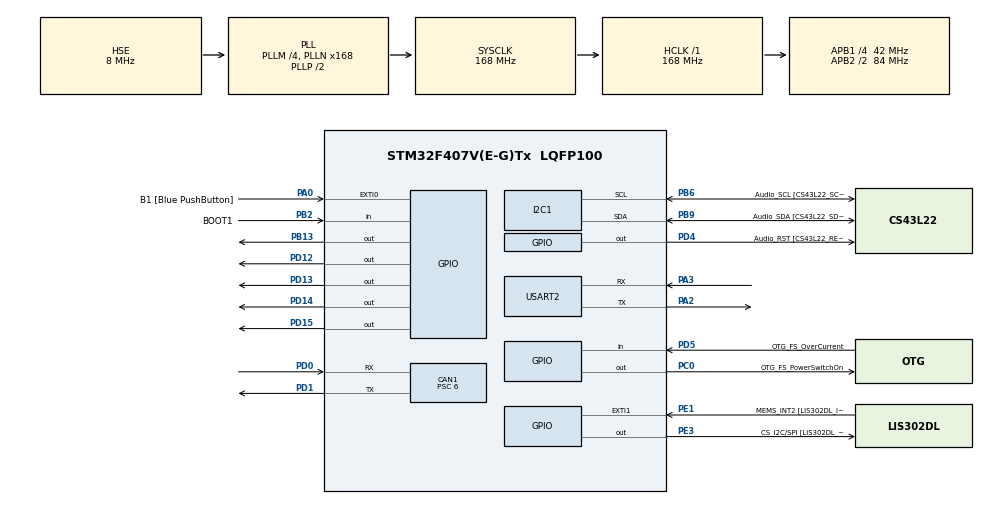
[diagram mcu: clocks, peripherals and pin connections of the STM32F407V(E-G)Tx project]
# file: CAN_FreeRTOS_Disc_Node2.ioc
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CAN1.ABOM=ENABLE
CAN1.BS1=CAN_BS1_11TQ
CAN1.BS2=CAN_BS2_2TQ
CAN1.CalculateBaudRate=500000
CAN1.CalculateTimeBit=2000
CAN1.CalculateTimeQuantum=142.85714285714286
CAN1.NART=ENABLE
CAN1.Prescaler=6
FREERTOS.Mutexes01=UARTmutex,Dynamic,NULL,Available
FREERTOS.Queues01=Queue1,16,uint16_t,0,Dynamic,NULL,NULL;Queue2,16,uint16_t,0,Dynamic,NULL,NULL;Queue3,16,uint16_t,0,Dynamic,NULL,NULL;Queue4,16,uint16_t,0,Dynamic,NULL,NULL
FREERTOS.Tasks01=CANReceiveTask,40,128,Function_CANReceiveTask,Default,NULL,Dynamic,NULL,NULL;IDSDetectionTas,32,128,Function_IDSDetectionTask,Default,NULL,Dynamic,NULL,NULL;AlertTask,24,128,Function_AlertTask,Default,NULL,Dynamic,NULL,NULL;OLEDTask,8,128,Function_OLEDTask,Default,NULL,Dynamic,NULL,NULL
I2C1.I2C_Mode=I2C_Fast
Mcu.Family=STM32F4
Mcu.Name=STM32F407V(E-G)Tx
Mcu.Package=LQFP100
NVIC.CAN1_RX0_IRQn=true\:5\:0\:true\:false\:true\:true\:true\:true\:true
NVIC.PriorityGroup=NVIC_PRIORITYGROUP_4
NVIC.TIM6_DAC_IRQn=true\:15\:0\:false\:false\:true\:false\:false\:true\:true
NVIC.TimeBase=TIM6_DAC_IRQn
NVIC.TimeBaseIP=TIM6
PA0-WKUP.GPIO_Label=B1 [Blue PushButton]
PA0-WKUP.Signal=GPXTI0
PA10.GPIO_Label=OTG_FS_ID
PA10.GPIO_Mode=GPIO_MODE_AF_PP
PA10.GPIO_PuPd=GPIO_NOPULL
PA10.GPIO_Speed=GPIO_SPEED_FREQ_LOW
PA10.Signal=USB_OTG_FS_ID
PA11.GPIO_Label=OTG_FS_DM
PA11.GPIO_Mode=GPIO_MODE_AF_PP
PA11.GPIO_PuPd=GPIO_NOPULL
PA11.GPIO_Speed=GPIO_SPEED_FREQ_LOW
PA11.Signal=USB_OTG_FS_DM
PA12.GPIO_Label=OTG_FS_DP
PA12.GPIO_Mode=GPIO_MODE_AF_PP
PA12.GPIO_PuPd=GPIO_NOPULL
PA12.GPIO_Speed=GPIO_SPEED_FREQ_LOW
PA12.Signal=USB_OTG_FS_DP
PA13.GPIO_Label=SWDIO
PA13.Mode=Serial_Wire
PA13.Signal=SYS_JTMS-SWDIO
PA14.GPIO_Label=SWCLK
PA14.Mode=Serial_Wire
PA14.Signal=SYS_JTCK-SWCLK
PA2.Mode=Asynchronous
PA2.Signal=USART2_TX
PA3.Mode=Asynchronous
PA3.Signal=USART2_RX
PA4.GPIO_Label=I2S3_WS [CS43L22_LRCK]
PA4.GPIO_Mode=GPIO_MODE_AF_PP
PA4.GPIO_PuPd=GPIO_NOPULL
PA4.GPIO_Speed=GPIO_SPEED_FREQ_LOW
PA4.Signal=I2S3_WS
PA5.GPIO_Label=SPI1_SCK [LIS302DL_SCL/SPC]
PA5.GPIO_Mode=GPIO_MODE_AF_PP
PA5.GPIO_PuPd=GPIO_NOPULL
PA5.GPIO_Speed=GPIO_SPEED_FREQ_LOW
PA5.Signal=SPI1_SCK
PA6.GPIO_Label=SPI1_MISO [LIS302DL_SDO]
PA6.GPIO_Mode=GPIO_MODE_AF_PP
PA6.GPIO_PuPd=GPIO_NOPULL
PA6.GPIO_Speed=GPIO_SPEED_FREQ_LOW
PA6.Signal=SPI1_MISO
PA7.GPIO_Label=SPI1_MOSI [LIS302DL_SDA/SDI/SDO]
PA7.GPIO_Mode=GPIO_MODE_AF_PP
PA7.GPIO_PuPd=GPIO_NOPULL
PA7.GPIO_Speed=GPIO_SPEED_FREQ_LOW
PA7.Signal=SPI1_MOSI
PA9.GPIO_Label=VBUS_FS
PA9.GPIO_Mode=GPIO_MODE_INPUT
PA9.GPIO_PuPd=GPIO_NOPULL
PA9.Signal=USB_OTG_FS_VBUS
PB10.GPIO_Label=CLK_IN [MP45DT02_CLK]
PB10.GPIO_Mode=GPIO_MODE_AF_PP
PB10.GPIO_PuPd=GPIO_NOPULL
PB10.GPIO_Speed=GPIO_SPEED_FREQ_LOW
PB10.Signal=I2S2_CK
PB13.Signal=GPIO_Output
PB2.GPIO_Label=BOOT1
PB2.GPIO_Mode=GPIO_MODE_INPUT
PB2.GPIO_PuPd=GPIO_NOPULL
PB2.Signal=GPIO_Input
PB3.GPIO_Label=SWO
PB3.Signal=SYS_JTDO-SWO
PB6.GPIO_Label=Audio_SCL [CS43L22_SCL]
PB6.GPIO_Mode=GPIO_MODE_AF_OD
PB6.GPIO_PuPd=GPIO_NOPULL
PB6.GPIO_Speed=GPIO_SPEED_FREQ_LOW
PB6.Mode=I2C
PB6.Signal=I2C1_SCL
PB9.GPIO_Label=Audio_SDA [CS43L22_SDA]
PB9.GPIO_Mode=GPIO_MODE_AF_OD
PB9.GPIO_PuPd=GPIO_NOPULL
PB9.GPIO_Speed=GPIO_SPEED_FREQ_LOW
PB9.Mode=I2C
PB9.Signal=I2C1_SDA
PC0.GPIO_Label=OTG_FS_PowerSwitchOn
PC0.GPIO_PuPd=GPIO_NOPULL
PC0.GPIO_Speed=GPIO_SPEED_FREQ_LOW
PC0.PinState=GPIO_PIN_SET
PC0.Signal=GPIO_Output
PC10.GPIO_Label=I2S3_SCK [CS43L22_SCLK]
PC10.GPIO_Mode=GPIO_MODE_AF_PP
PC10.GPIO_PuPd=GPIO_NOPULL
PC10.GPIO_Speed=GPIO_SPEED_FREQ_LOW
PC10.Signal=I2S3_CK
PC12.GPIO_Label=I2S3_SD [CS43L22_SDIN]
PC12.GPIO_Mode=GPIO_MODE_AF_PP
PC12.GPIO_PuPd=GPIO_NOPULL
PC12.GPIO_Speed=GPIO_SPEED_FREQ_LOW
PC12.Signal=I2S3_SD
PC14-OSC32_IN.GPIO_Label=PC14-OSC32_IN
PC14-OSC32_IN.Signal=RCC_OSC32_IN
PC15-OSC32_OUT.GPIO_Label=PC15-OSC32_OUT
PC15-OSC32_OUT.Signal=RCC_OSC32_OUT
PC3.GPIO_Label=PDM_OUT [MP45DT02_DOUT]
PC3.GPIO_Mode=GPIO_MODE_AF_PP
PC3.GPIO_PuPd=GPIO_NOPULL
PC3.GPIO_Speed=GPIO_SPEED_FREQ_LOW
PC3.Signal=I2S2_SD
PC7.GPIO_Label=I2S3_MCK [CS43L22_MCLK]
PC7.GPIO_Mode=GPIO_MODE_AF_PP
PC7.GPIO_PuPd=GPIO_NOPULL
PC7.GPIO_Speed=GPIO_SPEED_FREQ_LOW
PC7.Signal=I2S3_MCK
PD0.Mode=CAN_Activate
PD0.Signal=CAN1_RX
PD1.Mode=CAN_Activate
PD1.Signal=CAN1_TX
PD12.Signal=GPIO_Output
PD13.Signal=GPIO_Output
PD14.Signal=GPIO_Output
PD15.Signal=GPIO_Output
PD4.GPIO_Label=Audio_RST [CS43L22_RESET]
PD4.GPIO_PuPd=GPIO_NOPULL
PD4.GPIO_Speed=GPIO_SPEED_FREQ_LOW
PD4.Signal=GPIO_Output
PD5.GPIO_Label=OTG_FS_OverCurrent
PD5.GPIO_Mode=GPIO_MODE_INPUT
PD5.GPIO_PuPd=GPIO_NOPULL
PD5.Signal=GPIO_Input
PE1.GPIO_Label=MEMS_INT2 [LIS302DL_INT2]
PE1.GPIO_ModeDefaultEXTI=GPIO_MODE_EVT_RISING
PE1.GPIO_PuPd=GPIO_NOPULL
PE1.Signal=GPXTI1
PE3.GPIO_Label=CS_I2C/SPI [LIS302DL_CS_I2C/SPI]
PE3.GPIO_PuPd=GPIO_NOPULL
PE3.GPIO_Speed=GPIO_SPEED_FREQ_LOW
PE3.Signal=GPIO_Output
PH0-OSC_IN.GPIO_Label=PH0-OSC_IN
PH0-OSC_IN.Mode=HSE-External-Oscillator
PH0-OSC_IN.Signal=RCC_OSC_IN
PH1-OSC_OUT.GPIO_Label=PH1-OSC_OUT
PH1-OSC_OUT.Mode=HSE-External-Oscillator
PH1-OSC_OUT.Signal=RCC_OSC_OUT
ProjectManager.HeapSize=0x200
ProjectManager.StackSize=0x400
ProjectManager.TargetToolchain=STM32CubeIDE
RCC.48MHZClocksFreq_Value=48000000
RCC.AHBFreq_Value=168000000
RCC.APB1CLKDivider=RCC_HCLK_DIV4
RCC.APB1Freq_Value=42000000
RCC.APB1TimFreq_Value=84000000
RCC.APB2CLKDivider=RCC_HCLK_DIV2
RCC.APB2Freq_Value=84000000
RCC.APB2TimFreq_Value=168000000
RCC.CortexFreq_Value=168000000
RCC.HCLKFreq_Value=168000000
RCC.HSE_VALUE=8000000
RCC.HSI_VALUE=16000000
RCC.LSE_VALUE=32768
RCC.PLLM=4
RCC.PLLN=168
RCC.PLLQ=7
RCC.PLLSourceVirtual=RCC_PLLSOURCE_HSE
RCC.SYSCLKFreq_VALUE=168000000
RCC.SYSCLKSource=RCC_SYSCLKSOURCE_PLLCLK
RCC.VCOOutputFreq_Value=336000000
USART2.VirtualMode=VM_ASYNC
VP_FREERTOS_VS_CMSIS_V2.Mode=CMSIS_V2
VP_SYS_VS_tim6.Mode=TIM6
board=STM32F407G-DISC1

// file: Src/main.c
/* USER CODE BEGIN Header */
/**
  ******************************************************************************
  * @file           : main.c
  * @brief          : Main program body
  ******************************************************************************
  * @attention
  *
  * Copyright (c) 2026 STMicroelectronics.
  * All rights reserved.
  *
  * This software is licensed under terms that can be found in the LICENSE file
  * in the root directory of this software component.
  * If no LICENSE file comes with this software, it is provided AS-IS.
  *
  ******************************************************************************
  */
/* USER CODE END Header */
#include "main.h"
#include "cmsis_os.h"

/* USER CODE BEGIN Includes */
#include <stdio.h>
#include "string.h"
#include "ssd1306.h"
#include "fonts.h"

/* USER CODE END Includes */

/* USER CODE BEGIN PD */

#define MAX_RPM	8000
#define FLOOD_THRESHOLD_ms	5

/* USER CODE END PD */

CAN_HandleTypeDef hcan1;

I2C_HandleTypeDef hi2c1;

UART_HandleTypeDef huart2;

/* Definitions for CANReceiveTask */
osThreadId_t CANReceiveTaskHandle;
const osThreadAttr_t CANReceiveTask_attributes = {
  .name = "CANReceiveTask",
  .stack_size = 128 * 4,
  .priority = (osPriority_t) osPriorityHigh,
};
/* Definitions for IDSDetectionTas */
osThreadId_t IDSDetectionTasHandle;
const osThreadAttr_t IDSDetectionTas_attributes = {
  .name = "IDSDetectionTas",
  .stack_size = 128 * 4,
  .priority = (osPriority_t) osPriorityAboveNormal,
};
/* Definitions for AlertTask */
osThreadId_t AlertTaskHandle;
const osThreadAttr_t AlertTask_attributes = {
  .name = "AlertTask",
  .stack_size = 128 * 4,
  .priority = (osPriority_t) osPriorityNormal,
};
/* Definitions for OLEDTask */
osThreadId_t OLEDTaskHandle;
const osThreadAttr_t OLEDTask_attributes = {
  .name = "OLEDTask",
  .stack_size = 128 * 4,
  .priority = (osPriority_t) osPriorityLow,
};
/* Definitions for Queue1 */
osMessageQueueId_t Queue1Handle;
const osMessageQueueAttr_t Queue1_attributes = {
  .name = "Queue1"
};
/* Definitions for Queue2 */
osMessageQueueId_t Queue2Handle;
const osMessageQueueAttr_t Queue2_attributes = {
  .name = "Queue2"
};
/* Definitions for Queue3 */
osMessageQueueId_t Queue3Handle;
const osMessageQueueAttr_t Queue3_attributes = {
  .name = "Queue3"
};
/* Definitions for Queue4 */
osMessageQueueId_t Queue4Handle;
const osMessageQueueAttr_t Queue4_attributes = {
  .name = "Queue4"
};
/* Definitions for UARTmutex */
osMutexId_t UARTmutexHandle;
const osMutexAttr_t UARTmutex_attributes = {
  .name = "UARTmutex"
};
/* USER CODE BEGIN PV */

uint16_t CurrentRPM = 0;
uint16_t CurrentSpeed = 0;
uint16_t CurrentTemp = 0;

uint32_t lastRPMTime = 0;

/* USER CODE END PV */

void SystemClock_Config(void);
static void MX_GPIO_Init(void);
static void MX_CAN1_Init(void);
static void MX_I2C1_Init(void);
static void MX_USART2_UART_Init(void);
void Function_CANReceiveTask(void *argument);
void Function_IDSDetectionTask(void *argument);
void Function_AlertTask(void *argument);
void Function_OLEDTask(void *argument);

/* USER CODE BEGIN PFP */

void CAN_Filter_Config(void);

/* USER CODE END PFP */

/* USER CODE BEGIN 0 */

typedef struct
{
	uint32_t id;
	uint8_t  dlc;
	uint8_t  data[8];
	uint32_t timestamp;
}CAN_Frame_t;

typedef enum{
	ATTACK_UNKNOWN_ID = 0,
	ATTACK_INVALID_RPM,
	ATTACK_INVALID_SPEED,
	ATTACK_INVALID_TEMP,
	ATTACK_FLOOD
}AttackType_t;

typedef struct
{
	uint32_t id;
	uint16_t value;
	AttackType_t attackType;
	uint32_t timestamp;
}IDS_Event_t;	 // IDS --> Intrusion detection system

/* USER CODE END 0 */

int main(void)
{

  /* MCU Configuration--------------------------------------------------------*/

  /* Reset of all peripherals, Initializes the Flash interface and the Systick. */
  HAL_Init();

  /* Configure the system clock */
  SystemClock_Config();

  /* Initialize all configured peripherals */
  MX_GPIO_Init();
  MX_CAN1_Init();
  MX_I2C1_Init();
  MX_USART2_UART_Init();
  /* USER CODE BEGIN 2 */

  // filters are applied immediately when CAN leaves initialization mode.
  CAN_Filter_Config();

  if(HAL_CAN_Start(&hcan1) != HAL_OK)
  {
	  Error_Handler();
  }

	// API is use for enabling interrupt
	if (HAL_CAN_ActivateNotification(&hcan1, CAN_IT_RX_FIFO0_MSG_PENDING) != HAL_OK)
	{
		Error_Handler();
	}

  /* USER CODE END 2 */

  /* Init scheduler */
  osKernelInitialize();
  /* Create the mutex(es) */
  /* creation of UARTmutex */
  UARTmutexHandle = osMutexNew(&UARTmutex_attributes);

  /* Create the queue(s) */
  /* creation of Queue1 */
  Queue1Handle = osMessageQueueNew (16, sizeof(CAN_Frame_t), &Queue1_attributes);

  /* creation of Queue2 */
  Queue2Handle = osMessageQueueNew (16, sizeof(CAN_Frame_t), &Queue2_attributes);

  /* creation of Queue3 */
  Queue3Handle = osMessageQueueNew (16, sizeof(IDS_Event_t), &Queue3_attributes);

  /* creation of Queue4 */
  Queue4Handle = osMessageQueueNew (16, sizeof(CAN_Frame_t), &Queue4_attributes);

  /* Create the thread(s) */
  /* creation of CANReceiveTask */
  CANReceiveTaskHandle = osThreadNew(Function_CANReceiveTask, NULL, &CANReceiveTask_attributes);

  /* creation of IDSDetectionTas */
  IDSDetectionTasHandle = osThreadNew(Function_IDSDetectionTask, NULL, &IDSDetectionTas_attributes);

  /* creation of AlertTask */
  AlertTaskHandle = osThreadNew(Function_AlertTask, NULL, &AlertTask_attributes);

  /* creation of OLEDTask */
  OLEDTaskHandle = osThreadNew(Function_OLEDTask, NULL, &OLEDTask_attributes);

  /* Start scheduler */
  osKernelStart();

  /* We should never get here as control is now taken by the scheduler */

  /* Infinite loop */
  while (1)
  {

  }
}

void SystemClock_Config(void)
{
  RCC_OscInitTypeDef RCC_OscInitStruct = {0};
  RCC_ClkInitTypeDef RCC_ClkInitStruct = {0};

  /** Configure the main internal regulator output voltage
  */
  __HAL_RCC_PWR_CLK_ENABLE();
  __HAL_PWR_VOLTAGESCALING_CONFIG(PWR_REGULATOR_VOLTAGE_SCALE1);

  /** Initializes the RCC Oscillators according to the specified parameters
  * in the RCC_OscInitTypeDef structure.
  */
  RCC_OscInitStruct.OscillatorType = RCC_OSCILLATORTYPE_HSE;
  RCC_OscInitStruct.HSEState = RCC_HSE_ON;
  RCC_OscInitStruct.PLL.PLLState = RCC_PLL_ON;
  RCC_OscInitStruct.PLL.PLLSource = RCC_PLLSOURCE_HSE;
  RCC_OscInitStruct.PLL.PLLM = 4;
  RCC_OscInitStruct.PLL.PLLN = 168;
  RCC_OscInitStruct.PLL.PLLP = RCC_PLLP_DIV2;
  RCC_OscInitStruct.PLL.PLLQ = 7;
  if (HAL_RCC_OscConfig(&RCC_OscInitStruct) != HAL_OK)
  {
    Error_Handler();
  }

  /** Initializes the CPU, AHB and APB buses clocks
  */
  RCC_ClkInitStruct.ClockType = RCC_CLOCKTYPE_HCLK|RCC_CLOCKTYPE_SYSCLK
                              |RCC_CLOCKTYPE_PCLK1|RCC_CLOCKTYPE_PCLK2;
  RCC_ClkInitStruct.SYSCLKSource = RCC_SYSCLKSOURCE_PLLCLK;
  RCC_ClkInitStruct.AHBCLKDivider = RCC_SYSCLK_DIV1;
  RCC_ClkInitStruct.APB1CLKDivider = RCC_HCLK_DIV4;
  RCC_ClkInitStruct.APB2CLKDivider = RCC_HCLK_DIV2;

  if (HAL_RCC_ClockConfig(&RCC_ClkInitStruct, FLASH_LATENCY_5) != HAL_OK)
  {
    Error_Handler();
  }
}

static void MX_CAN1_Init(void)
{

  hcan1.Instance = CAN1;
  hcan1.Init.Prescaler = 6;
  hcan1.Init.Mode = CAN_MODE_NORMAL;
  hcan1.Init.SyncJumpWidth = CAN_SJW_1TQ;
  hcan1.Init.TimeSeg1 = CAN_BS1_11TQ;
  hcan1.Init.TimeSeg2 = CAN_BS2_2TQ;
  hcan1.Init.TimeTriggeredMode = DISABLE;
  hcan1.Init.AutoBusOff = ENABLE;
  hcan1.Init.AutoWakeUp = DISABLE;
  hcan1.Init.AutoRetransmission = ENABLE;
  hcan1.Init.ReceiveFifoLocked = DISABLE;
  hcan1.Init.TransmitFifoPriority = DISABLE;
  if (HAL_CAN_Init(&hcan1) != HAL_OK)
  {
    Error_Handler();
  }

}

static void MX_I2C1_Init(void)
{

  hi2c1.Instance = I2C1;
  hi2c1.Init.ClockSpeed = 400000;
  hi2c1.Init.DutyCycle = I2C_DUTYCYCLE_2;
  hi2c1.Init.OwnAddress1 = 0;
  hi2c1.Init.AddressingMode = I2C_ADDRESSINGMODE_7BIT;
  hi2c1.Init.DualAddressMode = I2C_DUALADDRESS_DISABLE;
  hi2c1.Init.OwnAddress2 = 0;
  hi2c1.Init.GeneralCallMode = I2C_GENERALCALL_DISABLE;
  hi2c1.Init.NoStretchMode = I2C_NOSTRETCH_DISABLE;
  if (HAL_I2C_Init(&hi2c1) != HAL_OK)
  {
    Error_Handler();
  }

}

static void MX_USART2_UART_Init(void)
{

  huart2.Instance = USART2;
  huart2.Init.BaudRate = 115200;
  huart2.Init.WordLength = UART_WORDLENGTH_8B;
  huart2.Init.StopBits = UART_STOPBITS_1;
  huart2.Init.Parity = UART_PARITY_NONE;
  huart2.Init.Mode = UART_MODE_TX_RX;
  huart2.Init.HwFlowCtl = UART_HWCONTROL_NONE;
  huart2.Init.OverSampling = UART_OVERSAMPLING_16;
  if (HAL_UART_Init(&huart2) != HAL_OK)
  {
    Error_Handler();
  }

}

static void MX_GPIO_Init(void)
{
  GPIO_InitTypeDef GPIO_InitStruct = {0};

  /* GPIO Ports Clock Enable */
  __HAL_RCC_GPIOE_CLK_ENABLE();
  __HAL_RCC_GPIOC_CLK_ENABLE();
  __HAL_RCC_GPIOH_CLK_ENABLE();
  __HAL_RCC_GPIOA_CLK_ENABLE();
  __HAL_RCC_GPIOB_CLK_ENABLE();
  __HAL_RCC_GPIOD_CLK_ENABLE();

  /*Configure GPIO pin Output Level */
  HAL_GPIO_WritePin(CS_I2C_SPI_GPIO_Port, CS_I2C_SPI_Pin, GPIO_PIN_RESET);

  /*Configure GPIO pin Output Level */
  HAL_GPIO_WritePin(OTG_FS_PowerSwitchOn_GPIO_Port, OTG_FS_PowerSwitchOn_Pin, GPIO_PIN_SET);

  /*Configure GPIO pin Output Level */
  HAL_GPIO_WritePin(GPIOB, GPIO_PIN_13, GPIO_PIN_RESET);

  /*Configure GPIO pin Output Level */
  HAL_GPIO_WritePin(GPIOD, GPIO_PIN_12|GPIO_PIN_13|GPIO_PIN_14|GPIO_PIN_15
                          |Audio_RST_Pin, GPIO_PIN_RESET);

  /*Configure GPIO pin : CS_I2C_SPI_Pin */
  GPIO_InitStruct.Pin = CS_I2C_SPI_Pin;
  GPIO_InitStruct.Mode = GPIO_MODE_OUTPUT_PP;
  GPIO_InitStruct.Pull = GPIO_NOPULL;
  GPIO_InitStruct.Speed = GPIO_SPEED_FREQ_LOW;
  HAL_GPIO_Init(CS_I2C_SPI_GPIO_Port, &GPIO_InitStruct);

  /*Configure GPIO pin : OTG_FS_PowerSwitchOn_Pin */
  GPIO_InitStruct.Pin = OTG_FS_PowerSwitchOn_Pin;
  GPIO_InitStruct.Mode = GPIO_MODE_OUTPUT_PP;
  GPIO_InitStruct.Pull = GPIO_NOPULL;
  GPIO_InitStruct.Speed = GPIO_SPEED_FREQ_LOW;
  HAL_GPIO_Init(OTG_FS_PowerSwitchOn_GPIO_Port, &GPIO_InitStruct);

  /*Configure GPIO pin : PDM_OUT_Pin */
  GPIO_InitStruct.Pin = PDM_OUT_Pin;
  GPIO_InitStruct.Mode = GPIO_MODE_AF_PP;
  GPIO_InitStruct.Pull = GPIO_NOPULL;
  GPIO_InitStruct.Speed = GPIO_SPEED_FREQ_LOW;
  GPIO_InitStruct.Alternate = GPIO_AF5_SPI2;
  HAL_GPIO_Init(PDM_OUT_GPIO_Port, &GPIO_InitStruct);

  /*Configure GPIO pin : B1_Pin */
  GPIO_InitStruct.Pin = B1_Pin;
  GPIO_InitStruct.Mode = GPIO_MODE_IT_RISING;
  GPIO_InitStruct.Pull = GPIO_NOPULL;
  HAL_GPIO_Init(B1_GPIO_Port, &GPIO_InitStruct);

  /*Configure GPIO pin : I2S3_WS_Pin */
  GPIO_InitStruct.Pin = I2S3_WS_Pin;
  GPIO_InitStruct.Mode = GPIO_MODE_AF_PP;
  GPIO_InitStruct.Pull = GPIO_NOPULL;
  GPIO_InitStruct.Speed = GPIO_SPEED_FREQ_LOW;
  GPIO_InitStruct.Alternate = GPIO_AF6_SPI3;
  HAL_GPIO_Init(I2S3_WS_GPIO_Port, &GPIO_InitStruct);

  /*Configure GPIO pins : SPI1_SCK_Pin SPI1_MISO_Pin SPI1_MOSI_Pin */
  GPIO_InitStruct.Pin = SPI1_SCK_Pin|SPI1_MISO_Pin|SPI1_MOSI_Pin;
  GPIO_InitStruct.Mode = GPIO_MODE_AF_PP;
  GPIO_InitStruct.Pull = GPIO_NOPULL;
  GPIO_InitStruct.Speed = GPIO_SPEED_FREQ_LOW;
  GPIO_InitStruct.Alternate = GPIO_AF5_SPI1;
  HAL_GPIO_Init(GPIOA, &GPIO_InitStruct);

  /*Configure GPIO pin : BOOT1_Pin */
  GPIO_InitStruct.Pin = BOOT1_Pin;
  GPIO_InitStruct.Mode = GPIO_MODE_INPUT;
  GPIO_InitStruct.Pull = GPIO_NOPULL;
  HAL_GPIO_Init(BOOT1_GPIO_Port, &GPIO_InitStruct);

  /*Configure GPIO pin : CLK_IN_Pin */
  GPIO_InitStruct.Pin = CLK_IN_Pin;
  GPIO_InitStruct.Mode = GPIO_MODE_AF_PP;
  GPIO_InitStruct.Pull = GPIO_NOPULL;
  GPIO_InitStruct.Speed = GPIO_SPEED_FREQ_LOW;
  GPIO_InitStruct.Alternate = GPIO_AF5_SPI2;
  HAL_GPIO_Init(CLK_IN_GPIO_Port, &GPIO_InitStruct);

  /*Configure GPIO pin : PB13 */
  GPIO_InitStruct.Pin = GPIO_PIN_13;
  GPIO_InitStruct.Mode = GPIO_MODE_OUTPUT_PP;
  GPIO_InitStruct.Pull = GPIO_NOPULL;
  GPIO_InitStruct.Speed = GPIO_SPEED_FREQ_LOW;
  HAL_GPIO_Init(GPIOB, &GPIO_InitStruct);

  /*Configure GPIO pins : PD12 PD13 PD14 PD15
                           Audio_RST_Pin */
  GPIO_InitStruct.Pin = GPIO_PIN_12|GPIO_PIN_13|GPIO_PIN_14|GPIO_PIN_15
                          |Audio_RST_Pin;
  GPIO_InitStruct.Mode = GPIO_MODE_OUTPUT_PP;
  GPIO_InitStruct.Pull = GPIO_NOPULL;
  GPIO_InitStruct.Speed = GPIO_SPEED_FREQ_LOW;
  HAL_GPIO_Init(GPIOD, &GPIO_InitStruct);

  /*Configure GPIO pins : I2S3_MCK_Pin I2S3_SCK_Pin I2S3_SD_Pin */
  GPIO_InitStruct.Pin = I2S3_MCK_Pin|I2S3_SCK_Pin|I2S3_SD_Pin;
  GPIO_InitStruct.Mode = GPIO_MODE_AF_PP;
  GPIO_InitStruct.Pull = GPIO_NOPULL;
  GPIO_InitStruct.Speed = GPIO_SPEED_FREQ_LOW;
  GPIO_InitStruct.Alternate = GPIO_AF6_SPI3;
  HAL_GPIO_Init(GPIOC, &GPIO_InitStruct);

  /*Configure GPIO pin : VBUS_FS_Pin */
  GPIO_InitStruct.Pin = VBUS_FS_Pin;
  GPIO_InitStruct.Mode = GPIO_MODE_INPUT;
  GPIO_InitStruct.Pull = GPIO_NOPULL;
  HAL_GPIO_Init(VBUS_FS_GPIO_Port, &GPIO_InitStruct);

  /*Configure GPIO pins : OTG_FS_ID_Pin OTG_FS_DM_Pin OTG_FS_DP_Pin */
  GPIO_InitStruct.Pin = OTG_FS_ID_Pin|OTG_FS_DM_Pin|OTG_FS_DP_Pin;
  GPIO_InitStruct.Mode = GPIO_MODE_AF_PP;
  GPIO_InitStruct.Pull = GPIO_NOPULL;
  GPIO_InitStruct.Speed = GPIO_SPEED_FREQ_LOW;
  GPIO_InitStruct.Alternate = GPIO_AF10_OTG_FS;
  HAL_GPIO_Init(GPIOA, &GPIO_InitStruct);

  /*Configure GPIO pin : OTG_FS_OverCurrent_Pin */
  GPIO_InitStruct.Pin = OTG_FS_OverCurrent_Pin;
  GPIO_InitStruct.Mode = GPIO_MODE_INPUT;
  GPIO_InitStruct.Pull = GPIO_NOPULL;
  HAL_GPIO_Init(OTG_FS_OverCurrent_GPIO_Port, &GPIO_InitStruct);

  /*Configure GPIO pin : MEMS_INT2_Pin */
  GPIO_InitStruct.Pin = MEMS_INT2_Pin;
  GPIO_InitStruct.Mode = GPIO_MODE_EVT_RISING;
  GPIO_InitStruct.Pull = GPIO_NOPULL;
  HAL_GPIO_Init(MEMS_INT2_GPIO_Port, &GPIO_InitStruct);

}

/* USER CODE BEGIN 4 */

void CAN_Filter_Config(void)
{
	CAN_FilterTypeDef filterInit;

	filterInit.FilterActivation = CAN_FILTER_ENABLE;
	filterInit.FilterBank = 0;
	filterInit.FilterFIFOAssignment = CAN_FILTER_FIFO0;
	filterInit.FilterIdHigh = 0x0000;
	filterInit.FilterIdLow = 0x0000;
	filterInit.FilterMaskIdHigh = 0x0000;
	filterInit.FilterMaskIdLow = 0x0000;
	filterInit.FilterMode = CAN_FILTERMODE_IDMASK;
	filterInit.FilterScale = CAN_FILTERSCALE_32BIT;

	if(HAL_CAN_ConfigFilter(&hcan1, &filterInit) != HAL_OK)
	{
		Error_Handler();
	}

}

void HAL_CAN_RxFifo0MsgPendingCallback(CAN_HandleTypeDef *hcan)
{
	CAN_Frame_t frame;

	CAN_RxHeaderTypeDef RxHeader;
	uint8_t RxData[8];

	HAL_CAN_GetRxMessage(&hcan1, CAN_RX_FIFO0, &RxHeader, RxData);

	frame.id = RxHeader.StdId;
	frame.dlc = RxHeader.DLC;
	memcpy(frame.data, RxData, 8);
	frame.timestamp = HAL_GetTick();

	// Send Queue 1 -->
	osMessageQueuePut(Queue1Handle, &frame, 0, 0);
}

/* USER CODE END 4 */

void Function_CANReceiveTask(void *argument)
{
  /* USER CODE BEGIN 5 */
	CAN_Frame_t frame;

  /* Infinite loop */
  for(;;)
  {
	  if(osMessageQueueGet(Queue1Handle, &frame, 0, osWaitForever) == osOK)
	  {
		  // Send to IDS
		  osMessageQueuePut(Queue2Handle, &frame, 0, 0);

		  // Send to OLED
		  osMessageQueuePut(Queue4Handle, &frame, 0, 0);
	  }
  }
  /* USER CODE END 5 */
}

void Function_IDSDetectionTask(void *argument)
{
  /* USER CODE BEGIN Function_IDSDetectionTask */

	char msg[50];

	CAN_Frame_t frame;
	IDS_Event_t event;
	uint16_t value;

  /* Infinite loop */
  for(;;)
  {
	  if(osMessageQueueGet(Queue2Handle, &frame, 0, osWaitForever) == osOK)
	  {
		  value = (frame.data[0] << 8) | frame.data[1];

		  event.id = frame.id;
		  event.value = value;
		  event.timestamp = frame.timestamp;

		  uint8_t printuart = 0;

		  switch(frame.id)
		  {

		  case 0x100 :
		  {
			  uint32_t CurrentTime = HAL_GetTick();

			  if(lastRPMTime!=0 && (CurrentTime - lastRPMTime) < FLOOD_THRESHOLD_ms)
			  {
				  event.attackType = ATTACK_FLOOD;
				  osMessageQueuePut(Queue3Handle, &event, 0, 0);
			  }
			  else if(value > MAX_RPM)
			  {
				  event.attackType = ATTACK_INVALID_RPM;
				  osMessageQueuePut(Queue3Handle, &event, 0, 0);
			  }
			  else
			  {
				  sprintf(msg, "ID:0x100 RPM:%u\r\n", value);
				  printuart = 1;
			  }

			  // Update for next Tick
			  lastRPMTime = CurrentTime;

			  break;
		  }

		  case 0x200 :
		  {
			  sprintf(msg, "ID:0x200 SPEED:%u\r\n", value);
			  printuart = 1;
			  break;
		  }

		  case 0x300 :
		  {
			  sprintf(msg, "ID:0x300 TEMP:%u\r\n", value);
			  printuart = 1;
			  break;
		  }

		  default :
		  {
			  event.attackType = ATTACK_UNKNOWN_ID;
			  osMessageQueuePut(Queue3Handle, &event, 0, 0);
			  break;
		  }

		  }

		  if(printuart)
		  {
			  osMutexAcquire(UARTmutexHandle, osWaitForever);

			  HAL_UART_Transmit(&huart2, (uint8_t*)msg, strlen(msg), HAL_MAX_DELAY);

			  osMutexRelease(UARTmutexHandle);
		  }

	  }
  }
  /* USER CODE END Function_IDSDetectionTask */
}

void Function_AlertTask(void *argument)
{
  /* USER CODE BEGIN Function_AlertTask */

	char msg[50];

	IDS_Event_t event;

  /* Infinite loop */
  for(;;)
  {
	  if(osMessageQueueGet(Queue3Handle, &event, 0, osWaitForever) == osOK)
	  {
		  switch(event.attackType)
		  {

		  case ATTACK_UNKNOWN_ID :
		  {
			  sprintf(msg, "****ATTACK UNKOWN ID:0x%03lX****\r\n", event.id);
			  break;
		  }

		  case ATTACK_INVALID_RPM :
		  {
			  sprintf(msg, "****ATTACK INVALID RPM:%u****\r\n", event.value);
			  break;
		  }

		  case ATTACK_FLOOD :
		  {
			  sprintf(msg, "****FLOOD ATTACK****\r\n");
			  break;
		  }

		  default:
			  break;

		  }

		  osMutexAcquire(UARTmutexHandle, osWaitForever);

		  HAL_UART_Transmit(&huart2, (uint8_t*)msg, strlen(msg), HAL_MAX_DELAY);

		  osMutexRelease(UARTmutexHandle);

		  // Turn ON LED
		  HAL_GPIO_WritePin(GPIOD, GPIO_PIN_14, GPIO_PIN_SET);
		  HAL_GPIO_WritePin(GPIOB, GPIO_PIN_13, GPIO_PIN_SET);

		  osDelay(500);

		  // Turn OFF LED
		  HAL_GPIO_WritePin(GPIOD, GPIO_PIN_14, GPIO_PIN_RESET);
		  HAL_GPIO_WritePin(GPIOB, GPIO_PIN_13, GPIO_PIN_RESET);
	  }
  }
  /* USER CODE END Function_AlertTask */
}

void Function_OLEDTask(void *argument)
{
  /* USER CODE BEGIN Function_OLEDTask */

	CAN_Frame_t frame;
	uint16_t value;

  /* Infinite loop */
  for(;;)
  {
	  if(osMessageQueueGet(Queue4Handle, &frame, 0, osWaitForever) == osOK)
	  {
		  value = (frame.data[0] << 8) | frame.data[1];

		  switch(frame.id)
		  {
		  case 0x100 :
			  CurrentRPM = value;
			  break;

		  case 0x200 :
			  CurrentSpeed = value;
			  break;

		  case 0x300 :
			  CurrentTemp = value;
			  break;
		  }

          SSD1306_Fill(SSD1306_COLOR_BLACK);

          char line[20];

          sprintf(line, "RPM : %u", CurrentRPM);
          SSD1306_GotoXY(0, 0);
          SSD1306_Puts(line, &Font_7x10, SSD1306_COLOR_WHITE);

          sprintf(line, "SPD : %u", CurrentSpeed);
          SSD1306_GotoXY(0, 16);
          SSD1306_Puts(line, &Font_7x10, SSD1306_COLOR_WHITE);

          sprintf(line, "TMP : %u", CurrentTemp);
          SSD1306_GotoXY(0, 32);
          SSD1306_Puts(line, &Font_7x10, SSD1306_COLOR_WHITE);

          SSD1306_GotoXY(0, 48);
          SSD1306_Puts("STATUS: NORMAL", &Font_7x10, SSD1306_COLOR_WHITE);

          SSD1306_UpdateScreen();
	  }
  }
  /* USER CODE END Function_OLEDTask */
}

void HAL_TIM_PeriodElapsedCallback(TIM_HandleTypeDef *htim)
{
  if (htim->Instance == TIM6)
  {
    HAL_IncTick();
  }
}

void Error_Handler(void)
{
  __disable_irq();
  while (1)
  {
  }
}
